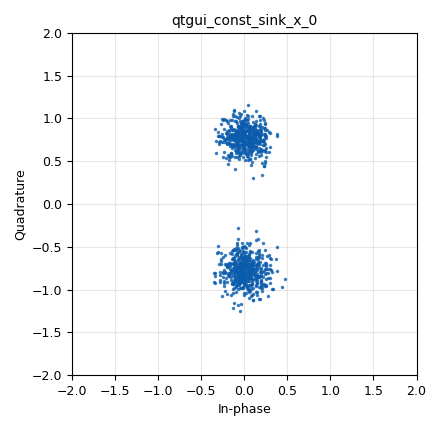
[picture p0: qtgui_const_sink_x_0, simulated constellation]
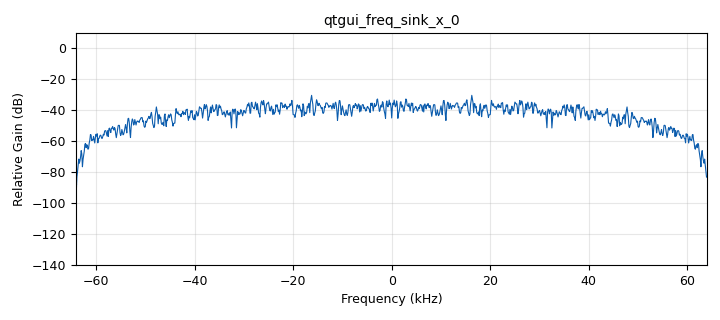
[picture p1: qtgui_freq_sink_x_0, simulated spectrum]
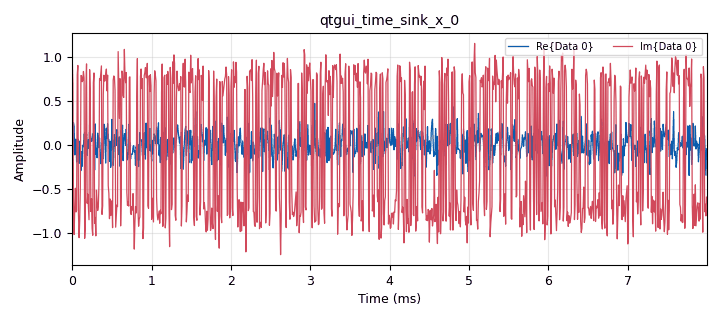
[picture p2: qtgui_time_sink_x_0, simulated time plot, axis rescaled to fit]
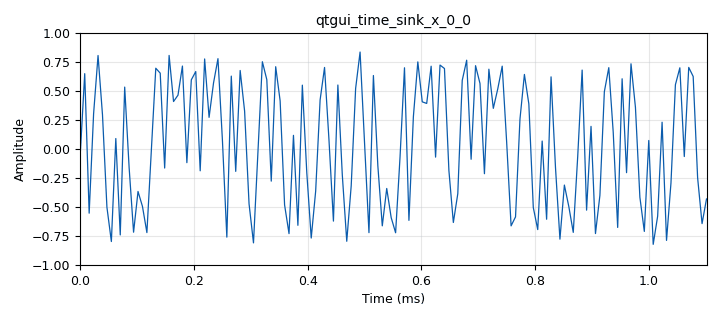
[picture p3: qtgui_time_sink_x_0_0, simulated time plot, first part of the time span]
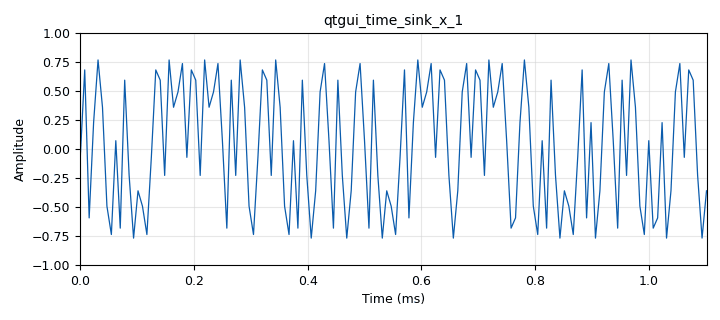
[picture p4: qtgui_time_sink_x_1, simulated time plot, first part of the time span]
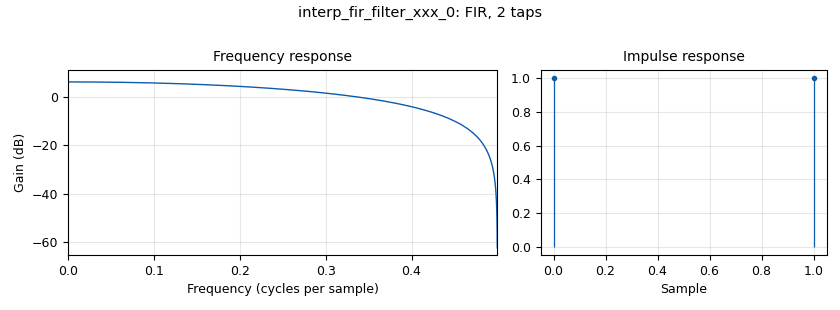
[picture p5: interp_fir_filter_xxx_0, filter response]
options:
  parameters:
    author: radiogis_director
    generate_options: qt_gui
    id: top_block
    output_language: python
    title: top_block
  states: {}

blocks:
- name: Frecuency
  id: variable
  parameters:
    value: '1000000'
  states: {}
- name: M
  id: variable
  parameters:
    value: len(tabla_de_verdad_constelacion )
  states: {}
- name: Rb
  id: variable
  parameters:
    value: Rs*bps
  states: {}
- name: Rs
  id: variable
  parameters:
    value: '64000'
  states: {}
- name: Sps
  id: variable
  parameters:
    value: '2'
  states: {}
- name: bps
  id: variable
  parameters:
    value: int(math.log(M,2))
  states: {}
- name: h
  id: variable
  parameters:
    value: '[1]*Sps'
  states: {}
- name: samp_rate
  id: variable
  parameters:
    value: Rs*Sps
  states: {}
- name: tabla_de_verdad_constelacion
  id: variable
  parameters:
    value: (0.77j,-0.77j)
  states: {}
- name: analog_noise_source_x_0
  id: analog_noise_source_x
  parameters:
    amp: '0.2'
    noise_type: analog.GR_GAUSSIAN
    seed: '0'
    type: complex
  states: {}
- name: analog_noise_source_x_0_0
  id: analog_noise_source_x
  parameters:
    amp: '0.05'
    noise_type: analog.GR_GAUSSIAN
    seed: '0'
    type: float
  states: {}
- name: analog_random_source_x_0
  id: analog_random_source_x
  parameters:
    max: '2'
    min: '0'
    num_samps: '1000'
    repeat: 'True'
    type: byte
  states: {}
- name: analog_sig_source_x_0
  id: analog_sig_source_x
  parameters:
    amp: '1'
    freq: Frecuency
    offset: '0'
    phase: '0'
    samp_rate: samp_rate
    type: float
    waveform: analog.GR_COS_WAVE
  states: {}
- name: analog_sig_source_x_0_0
  id: analog_sig_source_x
  parameters:
    amp: '1'
    freq: Frecuency
    offset: '0'
    phase: '0'
    samp_rate: samp_rate
    type: float
    waveform: analog.GR_SIN_WAVE
  states: {}
- name: blocks_add_xx_0
  id: blocks_add_xx
  parameters:
    type: complex
  states: {}
- name: blocks_add_xx_0_0
  id: blocks_add_xx
  parameters:
    type: float
  states: {}
- name: blocks_complex_to_float_0
  id: blocks_complex_to_float
  parameters: {}
  states: {}
- name: blocks_multiply_xx_0
  id: blocks_multiply_xx
  parameters:
    type: float
  states: {}
- name: blocks_multiply_xx_0_0
  id: blocks_multiply_xx
  parameters:
    type: float
  states: {}
- name: blocks_pack_k_bits_bb_0
  id: blocks_pack_k_bits_bb
  parameters:
    k: '8'
  states: {}
- name: blocks_packed_to_unpacked_xx_0
  id: blocks_packed_to_unpacked_xx
  parameters:
    bits_per_chunk: bps
    endianness: gr.GR_MSB_FIRST
    type: byte
  states: {}
- name: blocks_sub_xx_0
  id: blocks_sub_xx
  parameters:
    type: float
  states: {}
- name: digital_chunks_to_symbols_xx_0
  id: digital_chunks_to_symbols_xx
  parameters:
    dimension: '1'
    in_type: byte
    out_type: complex
    symbol_table: tabla_de_verdad_constelacion
  states: {}
- name: import_0
  id: import
  parameters:
    imports: import math
  states: {}
- name: interp_fir_filter_xxx_0
  id: interp_fir_filter_xxx
  parameters:
    interp: Sps
    taps: h
    type: ccf
  states: {}
- name: qtgui_const_sink_x_0
  id: qtgui_const_sink_x
  parameters:
    size: '1024'
    type: complex
  states: {}
- name: qtgui_freq_sink_x_0
  id: qtgui_freq_sink_x
  parameters:
    average: '0.05'
    bw: samp_rate
    fc: '0'
    fftsize: '1024'
    type: complex
  states: {}
- name: qtgui_time_sink_x_0
  id: qtgui_time_sink_x
  parameters:
    size: '1024'
    srate: samp_rate
    type: complex
  states: {}
- name: qtgui_time_sink_x_0_0
  id: qtgui_time_sink_x
  parameters:
    size: '1024'
    srate: samp_rate
    type: float
  states: {}
- name: qtgui_time_sink_x_1
  id: qtgui_time_sink_x
  parameters:
    size: '1024'
    srate: samp_rate
    type: float
  states: {}
- name: virtual_sink_0
  id: virtual_sink
  parameters:
    stream_id: p1
  states: {}
- name: virtual_sink_0_0
  id: virtual_sink
  parameters:
    stream_id: p0
  states: {}
- name: virtual_source_0
  id: virtual_source
  parameters:
    stream_id: p1
  states: {}
- name: virtual_source_0_0
  id: virtual_source
  parameters:
    stream_id: p0
  states: {}

connections:
- [analog_noise_source_x_0, '0', blocks_add_xx_0, '0']
- [analog_noise_source_x_0_0, '0', blocks_add_xx_0_0, '1']
- [analog_random_source_x_0, '0', blocks_pack_k_bits_bb_0, '0']
- [analog_sig_source_x_0, '0', blocks_multiply_xx_0, '1']
- [analog_sig_source_x_0_0, '0', blocks_multiply_xx_0_0, '1']
- [blocks_add_xx_0, '0', virtual_sink_0, '0']
- [blocks_add_xx_0_0, '0', qtgui_time_sink_x_0_0, '0']
- [blocks_complex_to_float_0, '0', blocks_multiply_xx_0, '0']
- [blocks_complex_to_float_0, '1', blocks_multiply_xx_0_0, '0']
- [blocks_multiply_xx_0, '0', blocks_sub_xx_0, '0']
- [blocks_multiply_xx_0_0, '0', blocks_sub_xx_0, '1']
- [blocks_pack_k_bits_bb_0, '0', blocks_packed_to_unpacked_xx_0, '0']
- [blocks_packed_to_unpacked_xx_0, '0', digital_chunks_to_symbols_xx_0, '0']
- [blocks_sub_xx_0, '0', blocks_add_xx_0_0, '0']
- [blocks_sub_xx_0, '0', qtgui_time_sink_x_1, '0']
- [digital_chunks_to_symbols_xx_0, '0', interp_fir_filter_xxx_0, '0']
- [interp_fir_filter_xxx_0, '0', blocks_add_xx_0, '1']
- [interp_fir_filter_xxx_0, '0', blocks_complex_to_float_0, '0']
- [interp_fir_filter_xxx_0, '0', virtual_sink_0_0, '0']
- [virtual_source_0, '0', qtgui_const_sink_x_0, '0']
- [virtual_source_0, '0', qtgui_time_sink_x_0, '0']
- [virtual_source_0_0, '0', qtgui_freq_sink_x_0, '0']

metadata:
  file_format: 1
  grc_version: 3.10.7.0
